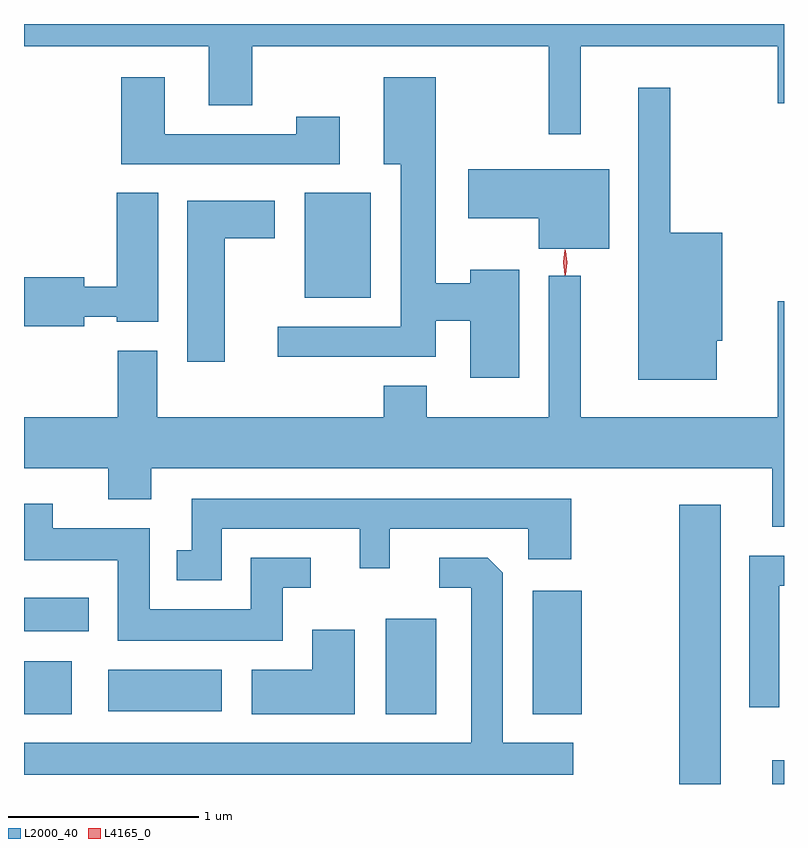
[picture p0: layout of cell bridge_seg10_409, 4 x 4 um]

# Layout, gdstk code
import gdstk
lib = gdstk.Library(unit=1e-6, precision=1e-09)
def R(c, l, rs):  # rectangles x0, y0, x1, y1
    for r in rs: c.add(gdstk.rectangle(r[:2], r[2:], *l))
def P(c, l, *ps):  # polygons
    for p in ps: c.add(gdstk.Polygon(p, *l))
L2000_40 = (2000, 40)
L4165_0 = (4165, 0)

bridge_seg10_409 = lib.new_cell('bridge_seg10_409')
R(bridge_seg10_409, L2000_40, [(1473.296,2085.613,1473.514,2087.084), (1473.786,2085.613,1473.848,2085.739), (1469.848,2085.981,1470.099,2086.259), (1471.751,2085.981,1472.019,2086.484), (1472.526,2085.981,1472.784,2086.629), (1470.291,2085.996,1470.889,2086.214), (1469.848,2086.416,1470.189,2086.594), (1471.326,2088.171,1471.674,2088.724)])
P(bridge_seg10_409, L2000_40, [(1472.779,2089.496),(1473.816,2089.496),(1473.816,2089.196),(1473.848,2089.196),(1473.848,2089.613),(1469.848,2089.613),(1469.848,2089.496),(1470.821,2089.496),(1470.821,2089.186),(1471.049,2089.186),(1471.049,2089.496),(1472.611,2089.496),(1472.611,2089.033),(1472.779,2089.033)],
  [(1471.509,2089.124),(1471.281,2089.124),(1471.281,2089.034),(1470.589,2089.034),(1470.589,2089.334),(1470.361,2089.334),(1470.361,2088.876),(1471.509,2088.876)],
  [(1472.454,2088.319),(1472.196,2088.319),(1472.196,2088.249),(1472.014,2088.249),(1472.014,2089.334),(1471.741,2089.334),(1471.741,2088.876),(1471.831,2088.876),(1471.831,2088.019),(1471.183,2088.019),(1471.183,2087.861),(1472.014,2087.861),(1472.014,2088.051),(1472.196,2088.051),(1472.196,2087.751),(1472.454,2087.751)],
  [(1473.494,2087.946),(1473.524,2087.946),(1473.524,2088.514),(1473.249,2088.514),(1473.249,2089.278),(1473.081,2089.278),(1473.081,2087.741),(1473.494,2087.741)],
  [(1472.929,2088.849),(1472.186,2088.849),(1472.186,2088.591),(1472.556,2088.591),(1472.556,2088.431),(1472.929,2088.431)],
  [(1470.164,2088.071),(1470.336,2088.071),(1470.336,2088.046),(1470.554,2088.046),(1470.554,2088.724),(1470.336,2088.724),(1470.336,2088.229),(1470.164,2088.229),(1470.164,2088.279),(1469.848,2088.279),(1469.848,2088.021),(1470.164,2088.021)],
  [(1470.904,2088.486),(1471.169,2088.486),(1471.169,2088.684),(1470.706,2088.684),(1470.706,2087.836),(1470.904,2087.836)],
  [(1473.848,2088.154),(1473.816,2088.154),(1473.816,2087.544),(1472.779,2087.544),(1472.779,2088.288),(1472.611,2088.288),(1472.611,2087.544),(1471.969,2087.544),(1471.969,2087.709),(1471.741,2087.709),(1471.741,2087.544),(1470.549,2087.544),(1470.549,2087.894),(1470.341,2087.894),(1470.341,2087.544),(1469.848,2087.544),(1469.848,2087.276),(1470.291,2087.276),(1470.291,2087.111),(1470.519,2087.111),(1470.519,2087.276),(1473.786,2087.276),(1473.786,2086.966),(1473.848,2086.966)],
  [(1470.889,2086.956),(1471.616,2086.956),(1471.616,2086.748),(1471.774,2086.748),(1471.774,2086.956),(1472.501,2086.956),(1472.501,2086.796),(1472.729,2086.796),(1472.729,2087.114),(1470.731,2087.114),(1470.731,2086.844),(1470.653,2086.844),(1470.653,2086.686),(1470.889,2086.686)],
  [(1471.209,2086.646),(1471.358,2086.646),(1471.358,2086.804),(1471.041,2086.804),(1471.041,2086.534),(1470.509,2086.534),(1470.509,2086.959),(1469.999,2086.959),(1469.999,2087.088),(1469.848,2087.088),(1469.848,2086.791),(1470.341,2086.791),(1470.341,2086.366),(1471.209,2086.366)],
  [(1473.824,2086.656),(1473.848,2086.656),(1473.848,2086.814),(1473.666,2086.814),(1473.666,2086.018),(1473.824,2086.018)],
  [(1472.738,2085.829),(1472.369,2085.829),(1472.369,2086.724),(1472.289,2086.804),(1472.033,2086.804),(1472.033,2086.646),(1472.201,2086.646),(1472.201,2085.829),(1469.848,2085.829),(1469.848,2085.661),(1472.738,2085.661)],
  [(1471.589,2086.424),(1471.366,2086.424),(1471.366,2086.214),(1471.046,2086.214),(1471.046,2085.981),(1471.589,2085.981)])
P(bridge_seg10_409, L4165_0, [(1472.695,2088.29),(1472.686,2088.358),(1472.695,2088.425),(1472.696,2088.426),(1472.696,2088.425),(1472.706,2088.358),(1472.696,2088.29),(1472.696,2088.29)],
  [(1472.698,2088.293),(1472.698,2088.294),(1472.688,2088.356),(1472.698,2088.419),(1472.698,2088.42),(1472.699,2088.419),(1472.708,2088.356),(1472.699,2088.294)])

lib.write_gds('bridge_seg10_409.gds')
